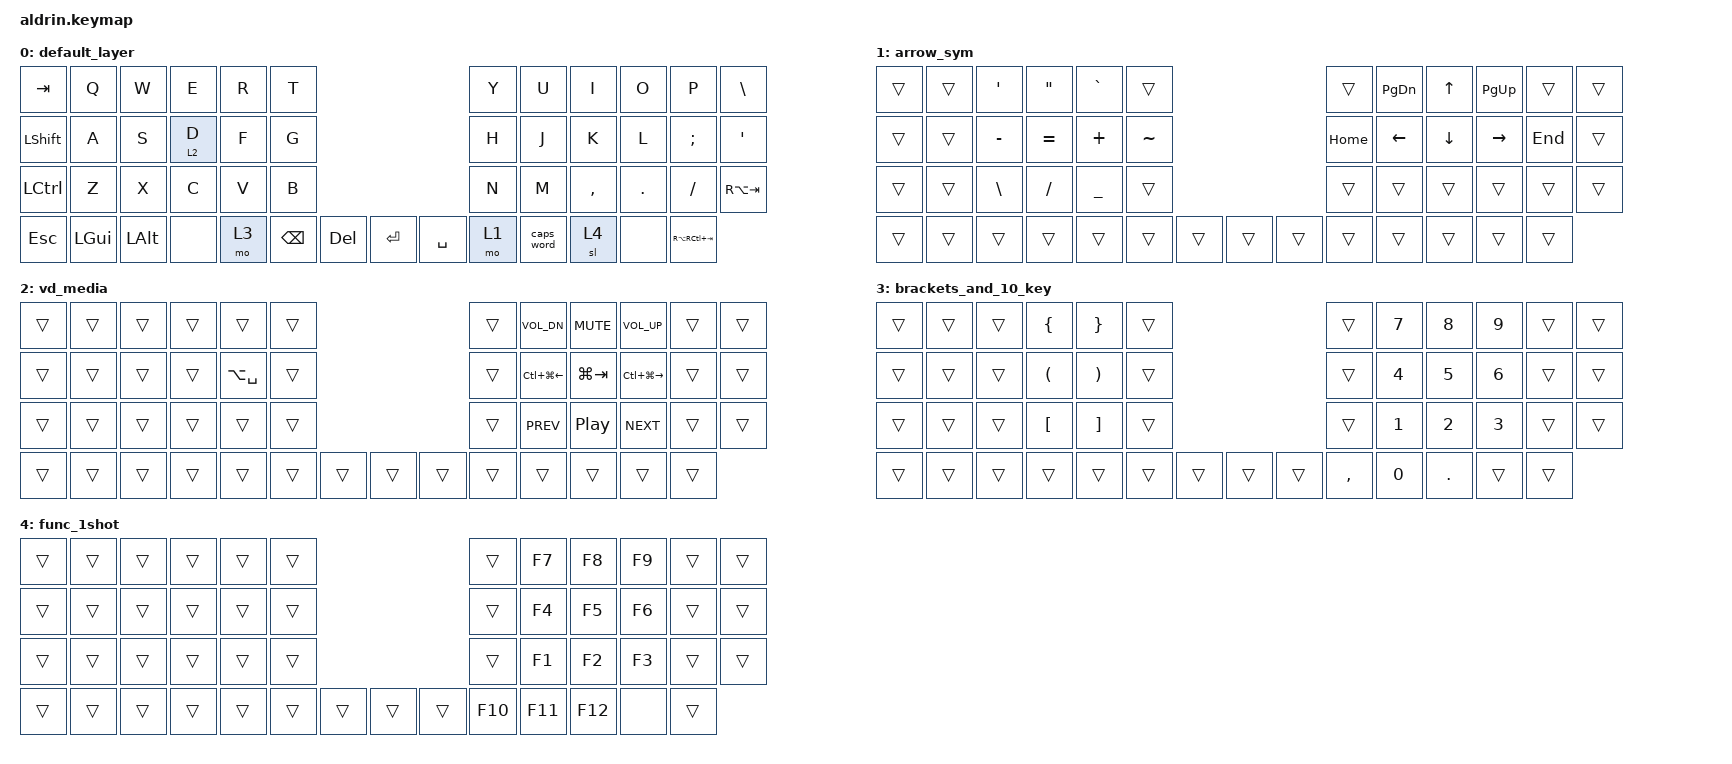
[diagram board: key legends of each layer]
/*
 * Copyright (c) 2020 The ZMK Contributors
 *
 * SPDX-License-Identifier: MIT
 */

#include <behaviors.dtsi>
#include <dt-bindings/zmk/keys.h>
#include <dt-bindings/zmk/bt.h>

// Autoshift Macro
#define AS(keycode) &as LS(keycode) keycode

// &lt {
//         flavor = "hold-preferred";
// };

/*
TODO:
- Hard combos to press:
        - windows + tab
        - any combo with alt
*/

/ {
        behaviors {
                as: auto_shift {
                        compatible = "zmk,behavior-hold-tap";
                        #binding-cells = <2>;
                        tapping_term_ms = <200>;
                        flavor = "tap-preferred";
                        bindings = <&kp>, <&kp>;
                };
        };

        keymap {
                compatible = "zmk,keymap";

                default_layer {  // 0
// ---------------------------------------------------------------------------------------------------------------
// |  TAB |  Q  |  W  |  E  |  R  |  T  |                                  |  Y  |   U  |  I  |  O  |  P  |   \  |
// | SHFT |  A  |  S  |D/ViD|F/SYM|  G  |                                  |  H  |   J  |  K  |  L  |  ;  |   '  |
// | CTRL |  Z  |  X  |  C  |  V  |  B  |                                  |  N  |   M  |  ,  |  .  |  /  | ALTTB|
// |  ESC | WIN | ALT | NONE| 10K |     | BKSP | | DEL |      | RET | SPAC |     | ARRBR| CAPW| FUN |     |      |
                        bindings = <
    &kp TAB    &kp Q     &kp W     &kp E    &kp R  &kp T                                           &kp Y  &kp U  &kp I       &kp O    &kp P     &kp BSLH
    &kp LSHFT  &kp A     &kp S     &lt 2 D  &kp F  &kp G                                           &kp H  &kp J  &kp K       &kp L    &kp SEMI  &kp SQT
    &kp LCTRL  &kp Z     &kp X     &kp C    &kp V  &kp B                                           &kp N  &kp M  &kp COMMA   &kp DOT  &kp FSLH  &kp RA(TAB)
    &kp ESC    &kp LGUI  &kp LALT  &none    &mo 3         &kp BSPC  &kp DEL    &kp RET  &kp SPACE         &mo 1  &caps_word  &sl 4    &none     &kp RA(RC(TAB))
                        >;
                };

                arrow_sym {  // 1
// -------------------------------------------------------------------------------------------------------------
// |     |     |  '  |  "  |  `  |     |                                   |     |     |  ↑  |     |     |     |
// |     |     |  -  |  =  |  +  |  ~  |                                   |     |  ←  |  ↓  |  →  |     |     |
// |     |     |  \  |  /  |  _  |     |                                   |     |     |     |     |     |     |
// |     |     |     |     |     |        |     |     |-----|     |     |        |     |     |     |     |     |
                        bindings = <
    &trans  &trans  &kp SQT   &kp DQT   &kp GRAVE &trans                                         &trans    &kp PG_DN &kp UP    &kp PG_UP  &trans   &trans
    &trans  &trans  &kp MINUS &kp EQUAL &kp PLUS  &kp TILDE                                      &kp HOME  &kp LEFT  &kp DOWN  &kp RIGHT  &kp END  &trans
    &trans  &trans  &kp BSLH  &kp FSLH  &kp UNDER &trans                                         &trans    &trans    &trans    &trans     &trans   &trans
    &trans  &trans  &trans    &trans    &trans                &trans  &trans    &trans  &trans             &trans    &trans    &trans     &trans   &trans
                        >;
                };

                vd_media {  // 2
// -------------------------------------------------------------------------------------------------------------
// |     |     |     |     |     |     |                                   |     |VOL ↓|MUTE  |VOL ↑|     |     |
// |     |     |     |     |JARVS|     |                                   |     |VD L |WINTAB|VD R |     |     |
// |     |     |     |     |     |     |                                   |     |PREV |PLAY  |NEXT |     |     |
// |     |     |     |     |     |        |     |     |-----|     |     |        |     |      |     |     |     |
                        bindings = <
    &trans  &trans  &trans  &trans  &trans        &trans                                      &trans  &kp C_VOL_DN     &kp C_MUTE &kp C_VOL_UP      &trans  &trans
    &trans  &trans  &trans  &trans  &kp LA(SPACE) &trans                                      &trans  &kp LC(LG(LEFT)) &kp LG(TAB)   &kp LC(LG(RIGHT)) &trans  &trans
    &trans  &trans  &trans  &trans  &trans        &trans                                      &trans  &kp C_PREV       &kp C_PP   &kp C_NEXT        &trans  &trans
    &trans  &trans  &trans  &trans  &trans                 &trans  &trans    &trans  &trans           &trans           &trans     &trans            &trans  &trans
                        >;
                };

                brackets_and_10_key {  // 3
// -------------------------------------------------------------------------------------------------------------
// |     |     |     |  {  |  }  |     |                                   |     | N7  | N8  | N9  |     |     |
// |     |     |     |  (  |  )  |     |                                   |     | N4  | N5  | N6  |     |     |
// |     |     |     |  [  |  ]  |     |                                   |     | N1  | N2  | N3  |     |     |
// |     |     |     |     |     |        |     |     |-----|     |     |        |  ,  | N0  |  .  |     |     |
                        bindings = <
    &trans  &trans  &trans  &kp LBRC  &kp RBRC  &trans                                      &trans  &kp N7     &kp N8  &kp N9   &trans  &trans
    &trans  &trans  &trans  &kp LPAR  &kp RPAR  &trans                                      &trans  &kp N4     &kp N5  &kp N6   &trans  &trans
    &trans  &trans  &trans  &kp LBKT  &kp RBKT  &trans                                      &trans  &kp N1     &kp N2  &kp N3   &trans  &trans
    &trans  &trans  &trans  &trans    &trans             &trans  &trans    &trans  &trans           &kp COMMA  &kp N0  &kp DOT  &trans  &trans
                        >;
                };

                func_1shot {  // 4
// -------------------------------------------------------------------------------------------------------------
// |     |     |     |     |     |     |                                   |     | F7  | F8  | F9  |     |     |
// |     |     |     |     |     |     |                                   |     | F4  | F5  | F6  |     |     |
// |     |     |     |     |     |     |                                   |     | F1  | F2  | F3  |     |     |
// |     |     |     |     |     |        |     |     |-----|     |     |        | F10 | F11 | F12 |     |     |
                        bindings = <
    &trans  &trans  &trans  &trans  &trans  &trans                                      &trans  &kp F7  &kp F8  &kp F9  &trans &trans
    &trans  &trans  &trans  &trans  &trans  &trans                                      &trans  &kp F4  &kp F5  &kp F6  &trans &trans
    &trans  &trans  &trans  &trans  &trans  &trans                                      &trans  &kp F1  &kp F2  &kp F3  &trans &trans
    &trans  &trans  &trans  &trans  &trans           &trans  &trans    &trans  &trans           &kp F10 &kp F11 &kp F12 &none  &trans
                        >;
                };
        };


// -------------------------------------------------------------------------------------------------------------
// |  0  |  1  |  2  |  3  |  4  |  5  |                                   |  6  |  7  |  8  |  9  | 10  | 11  |
// | 12  | 13  | 14  | 15  | 16  | 17  |                                   | 18  | 19  | 20  | 21  | 22  | 23  |
// | 24  | 25  | 26  | 27  | 28  | 29  |                                   | 30  | 31  | 32  | 33  | 34  | 35  |
// | 36  | 37  | 38  | 39  | 40  |        | 41  | 42  |-----| 43  | 44  |        | 45  | 46  | 47  | 48  | 49  |
        combos {
                compatible = "zmk,combos";
                // ----- COPY/PASTE -----
                combo_copy {
                        timeout-ms = <50>;
                        key-positions = <26 27>;
                        bindings = <&kp LC(C)>;
                };
                combo_shift_copy {
                        timeout-ms = <50>;
                        key-positions = <25 26 27>;
                        bindings = <&kp LS(LC(C))>;
                };
                combo_paste {
                        timeout-ms = <50>;
                        key-positions = <26 28>;
                        bindings = <&kp LC(V)>;
                };
                combo_shift_paste {
                        timeout-ms = <50>;
                        key-positions = <25 26 28>;
                        bindings = <&kp LS(LC(V))>;
                };

                // ----- BLUETOOTH PROFILES -----
                combo_bt_0 {
                        timeout-ms = <50>;
                        key-positions = <0 1>;
                        bindings = <&bt BT_SEL 0>;
                };
                combo_bt_1 {
                        timeout-ms = <50>;
                        key-positions = <0 2>;
                        bindings = <&bt BT_SEL 1>;
                };
                combo_bt_2 {
                        timeout-ms = <50>;
                        key-positions = <0 3>;
                        bindings = <&bt BT_SEL 2>;
                };
                combo_bt_3 {
                        timeout-ms = <50>;
                        key-positions = <0 4>;
                        bindings = <&bt BT_SEL 3>;
                };
                combo_bt_4 {
                        timeout-ms = <50>;
                        key-positions = <0 5>;
                        bindings = <&bt BT_SEL 4>;
                };
                combo_bt_5 {
                        timeout-ms = <50>;
                        key-positions = <0 6>;
                        bindings = <&bt BT_SEL 5>;
                };
                // ----- BLUETOOTH CLEAR -----
                combo_bt_clr {
                        timeout-ms = <50>;
                        key-positions = <0 41>;
                        bindings = <&bt BT_CLR>;
                };
                combo_bt_clr_all {
                        timeout-ms = <50>;
                        key-positions = <0 42>;
                        bindings = <&bt BT_CLR_ALL>;
                };
                // ----- SOFT OFF -----
                combo_soft_off {
                        timeout-ms = <50>;
                        key-positions = <37 38 39 40>;
                        bindings = <&soft_off>;
                };
        };
};
